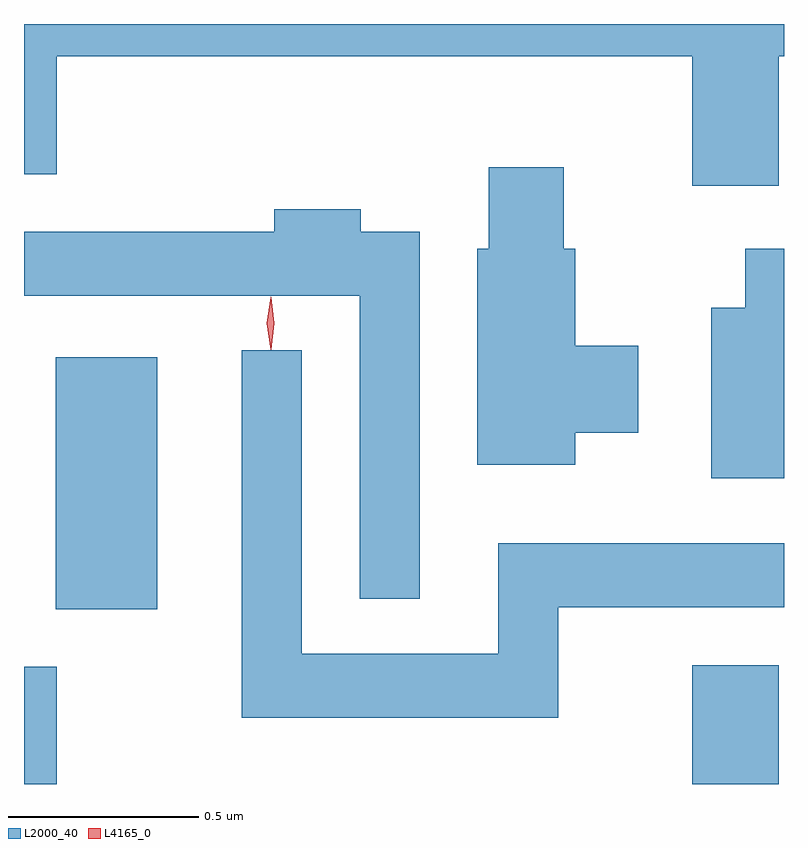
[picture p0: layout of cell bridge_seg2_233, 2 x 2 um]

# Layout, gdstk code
import gdstk
lib = gdstk.Library(unit=1e-6, precision=1e-09)
def R(c, l, rs):  # rectangles x0, y0, x1, y1
    for r in rs: c.add(gdstk.rectangle(r[:2], r[2:], *l))
def P(c, l, *ps):  # polygons
    for p in ps: c.add(gdstk.Polygon(p, *l))
L2000_40 = (2000, 40)
L4165_0 = (4165, 0)

bridge_seg2_233 = lib.new_cell('bridge_seg2_233')
R(bridge_seg2_233, L2000_40, [(546.333,1088.581,546.419,1088.889), (548.091,1088.581,548.319,1088.894), (546.416,1089.041,546.684,1089.704)])
P(bridge_seg2_233, L2000_40, [(548.319,1090.496),(548.333,1090.496),(548.333,1090.581),(546.333,1090.581),(546.333,1090.186),(546.419,1090.186),(546.419,1090.496),(548.091,1090.496),(548.091,1090.156),(548.319,1090.156)],
  [(547.784,1089.506),(547.949,1089.506),(547.949,1089.734),(547.784,1089.734),(547.784,1089.989),(547.754,1089.989),(547.754,1090.204),(547.556,1090.204),(547.556,1089.989),(547.526,1089.989),(547.526,1089.421),(547.784,1089.421)],
  [(547.374,1090.034),(547.219,1090.034),(547.219,1090.094),(546.991,1090.094),(546.991,1090.034),(546.333,1090.034),(546.333,1089.866),(547.216,1089.866),(547.216,1089.068),(547.374,1089.068)],
  [(548.333,1089.989),(548.231,1089.989),(548.231,1089.834),(548.141,1089.834),(548.141,1089.386),(548.333,1089.386)],
  [(547.739,1089.046),(548.333,1089.046),(548.333,1089.214),(547.581,1089.214),(547.581,1088.924),(547.064,1088.924),(547.064,1089.723),(546.906,1089.723),(546.906,1088.756),(547.739,1088.756)])
P(bridge_seg2_233, L4165_0, [(546.982,1089.724),(546.982,1089.724),(546.972,1089.793),(546.982,1089.862),(546.982,1089.863),(546.983,1089.862),(546.992,1089.793),(546.983,1089.724)])

lib.write_gds('bridge_seg2_233.gds')
